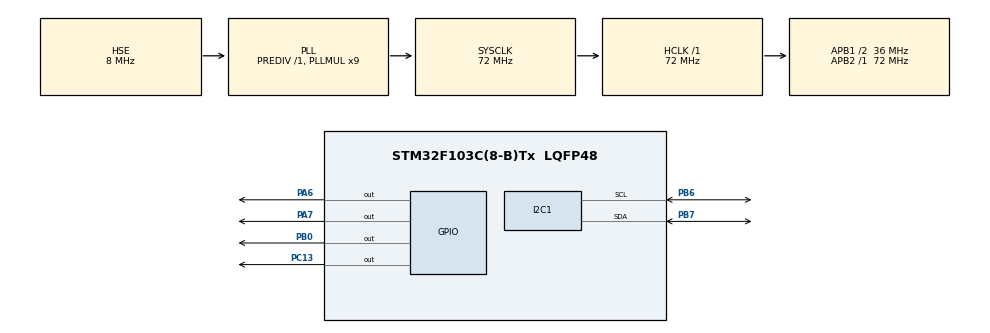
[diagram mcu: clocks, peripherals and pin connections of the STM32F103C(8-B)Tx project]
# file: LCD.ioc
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FREERTOS.Tasks01=defaultTask,24,256,StartDefaultTask,Default,NULL,Dynamic,NULL,NULL;sensor,24,256,entrySensor1,Default,NULL,Dynamic,NULL,NULL;NOMBRE,24,256,NombreApellido,Default,NULL,Dynamic,NULL,NULL
FREERTOS.configGENERATE_RUN_TIME_STATS=1
FREERTOS.configTOTAL_HEAP_SIZE=4000
FREERTOS.configUSE_APPLICATION_TASK_TAG=1
I2C1.I2C_Mode=I2C_Fast
Mcu.Family=STM32F1
Mcu.Name=STM32F103C(8-B)Tx
Mcu.Package=LQFP48
NVIC.PriorityGroup=NVIC_PRIORITYGROUP_4
NVIC.TIM1_UP_IRQn=true\:5\:0\:false\:false\:true\:true\:true\:true\:true
PA13.Mode=Serial_Wire
PA13.Signal=SYS_JTMS-SWDIO
PA14.Mode=Serial_Wire
PA14.Signal=SYS_JTCK-SWCLK
PA6.Signal=GPIO_Output
PA7.Signal=GPIO_Output
PB0.Signal=GPIO_Output
PB6.Mode=I2C
PB6.Signal=I2C1_SCL
PB7.Mode=I2C
PB7.Signal=I2C1_SDA
PC13-TAMPER-RTC.Signal=GPIO_Output
PD0-OSC_IN.Mode=HSE-External-Oscillator
PD0-OSC_IN.Signal=RCC_OSC_IN
PD1-OSC_OUT.Mode=HSE-External-Oscillator
PD1-OSC_OUT.Signal=RCC_OSC_OUT
ProjectManager.HeapSize=0x200
ProjectManager.StackSize=0x400
ProjectManager.TargetToolchain=STM32CubeIDE
RCC.AHBFreq_Value=72000000
RCC.APB1CLKDivider=RCC_HCLK_DIV2
RCC.APB1Freq_Value=36000000
RCC.APB1TimFreq_Value=72000000
RCC.APB2Freq_Value=72000000
RCC.APB2TimFreq_Value=72000000
RCC.HCLKFreq_Value=72000000
RCC.PLLMUL=RCC_PLL_MUL9
RCC.PLLSourceVirtual=RCC_PLLSOURCE_HSE
RCC.SYSCLKFreq_VALUE=72000000
RCC.SYSCLKSource=RCC_SYSCLKSOURCE_PLLCLK
RCC.USBFreq_Value=72000000
TIM1.AutoReloadPreload=TIM_AUTORELOAD_PRELOAD_ENABLE
TIM1.Period=99
TIM1.Prescaler=71
VP_FREERTOS_VS_CMSIS_V2.Mode=CMSIS_V2
VP_TIM1_VS_ClockSourceINT.Mode=Internal
board=custom

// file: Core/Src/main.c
/* USER CODE BEGIN Header */
/**
  ******************************************************************************
  * @file           : main.c
  * @brief          : Main program body
  ******************************************************************************
  * @attention
  *
  * Copyright (c) 2022 STMicroelectronics.
  * All rights reserved.
  *
  * This software is licensed under terms that can be found in the LICENSE file
  * in the root directory of this software component.
  * If no LICENSE file comes with this software, it is provided AS-IS.
  *
  ******************************************************************************
  */
/* USER CODE END Header */
#include "main.h"
#include "cmsis_os.h"

/* USER CODE BEGIN Includes */
#include "fonts.h"
#include "ssd1306.h"
#include "task.h"
/* USER CODE END Includes */

I2C_HandleTypeDef hi2c1;

TIM_HandleTypeDef htim1;

/* Definitions for defaultTask */
osThreadId_t defaultTaskHandle;
const osThreadAttr_t defaultTask_attributes = {
  .name = "defaultTask",
  .stack_size = 256 * 4,
  .priority = (osPriority_t) osPriorityNormal,
};
/* Definitions for sensor */
osThreadId_t sensorHandle;
const osThreadAttr_t sensor_attributes = {
  .name = "sensor",
  .stack_size = 256 * 4,
  .priority = (osPriority_t) osPriorityNormal,
};
/* Definitions for NOMBRE */
osThreadId_t NOMBREHandle;
const osThreadAttr_t NOMBRE_attributes = {
  .name = "NOMBRE",
  .stack_size = 256 * 4,
  .priority = (osPriority_t) osPriorityNormal,
};
/* USER CODE BEGIN PV */
volatile uint32_t ticks_10kHz;
/* USER CODE END PV */

void SystemClock_Config(void);
static void MX_GPIO_Init(void);
static void MX_I2C1_Init(void);
static void MX_TIM1_Init(void);
void StartDefaultTask(void *argument);
void entrySensor1(void *argument);
void NombreApellido(void *argument);

/* USER CODE BEGIN PFP */
void ImprimirLinea(char *s, uint8_t linea);
void callback_in(int tag);
void callback_out(int tag);
/*void configureTimerForRunTimeStats(void);
unsigned long getRunTimeCounterValue(void);
void HAL_TIM_PeriodElapsedCallback(TIM_HandleTypeDef *htim);*/
//void StartDefaultTask(void *argument);
/* USER CODE END PFP */

int main(void)
{

  /* MCU Configuration--------------------------------------------------------*/

  /* Reset of all peripherals, Initializes the Flash interface and the Systick. */
  HAL_Init();

  /* Configure the system clock */
  SystemClock_Config();

  /* Initialize all configured peripherals */
  MX_GPIO_Init();
  MX_I2C1_Init();
  MX_TIM1_Init();
  /* USER CODE BEGIN 2 */
  //ssd1306_I2C_Init();
  SSD1306_Init();
  SSD1306_Clear();
  /* USER CODE END 2 */

  /* Init scheduler */
  osKernelInitialize();

  /* Create the thread(s) */
  /* creation of defaultTask */
  defaultTaskHandle = osThreadNew(StartDefaultTask, NULL, &defaultTask_attributes);

  /* creation of sensor */
  sensorHandle = osThreadNew(entrySensor1, NULL, &sensor_attributes);

  /* creation of NOMBRE */
  NOMBREHandle = osThreadNew(NombreApellido, NULL, &NOMBRE_attributes);

  /* Start scheduler */
  osKernelStart();

  /* We should never get here as control is now taken by the scheduler */
  /* Infinite loop */
  while (1)
  {

  }
}

void SystemClock_Config(void)
{
  RCC_OscInitTypeDef RCC_OscInitStruct = {0};
  RCC_ClkInitTypeDef RCC_ClkInitStruct = {0};

  /** Initializes the RCC Oscillators according to the specified parameters
  * in the RCC_OscInitTypeDef structure.
  */
  RCC_OscInitStruct.OscillatorType = RCC_OSCILLATORTYPE_HSE;
  RCC_OscInitStruct.HSEState = RCC_HSE_ON;
  RCC_OscInitStruct.HSEPredivValue = RCC_HSE_PREDIV_DIV1;
  RCC_OscInitStruct.HSIState = RCC_HSI_ON;
  RCC_OscInitStruct.PLL.PLLState = RCC_PLL_ON;
  RCC_OscInitStruct.PLL.PLLSource = RCC_PLLSOURCE_HSE;
  RCC_OscInitStruct.PLL.PLLMUL = RCC_PLL_MUL9;
  if (HAL_RCC_OscConfig(&RCC_OscInitStruct) != HAL_OK)
  {
    Error_Handler();
  }

  /** Initializes the CPU, AHB and APB buses clocks
  */
  RCC_ClkInitStruct.ClockType = RCC_CLOCKTYPE_HCLK|RCC_CLOCKTYPE_SYSCLK
                              |RCC_CLOCKTYPE_PCLK1|RCC_CLOCKTYPE_PCLK2;
  RCC_ClkInitStruct.SYSCLKSource = RCC_SYSCLKSOURCE_PLLCLK;
  RCC_ClkInitStruct.AHBCLKDivider = RCC_SYSCLK_DIV1;
  RCC_ClkInitStruct.APB1CLKDivider = RCC_HCLK_DIV2;
  RCC_ClkInitStruct.APB2CLKDivider = RCC_HCLK_DIV1;

  if (HAL_RCC_ClockConfig(&RCC_ClkInitStruct, FLASH_LATENCY_2) != HAL_OK)
  {
    Error_Handler();
  }
}

static void MX_I2C1_Init(void)
{

  hi2c1.Instance = I2C1;
  hi2c1.Init.ClockSpeed = 400000;
  hi2c1.Init.DutyCycle = I2C_DUTYCYCLE_2;
  hi2c1.Init.OwnAddress1 = 0;
  hi2c1.Init.AddressingMode = I2C_ADDRESSINGMODE_7BIT;
  hi2c1.Init.DualAddressMode = I2C_DUALADDRESS_DISABLE;
  hi2c1.Init.OwnAddress2 = 0;
  hi2c1.Init.GeneralCallMode = I2C_GENERALCALL_DISABLE;
  hi2c1.Init.NoStretchMode = I2C_NOSTRETCH_DISABLE;
  if (HAL_I2C_Init(&hi2c1) != HAL_OK)
  {
    Error_Handler();
  }

}

static void MX_TIM1_Init(void)
{

  TIM_ClockConfigTypeDef sClockSourceConfig = {0};
  TIM_MasterConfigTypeDef sMasterConfig = {0};

  htim1.Instance = TIM1;
  htim1.Init.Prescaler = 71;
  htim1.Init.CounterMode = TIM_COUNTERMODE_UP;
  htim1.Init.Period = 99;
  htim1.Init.ClockDivision = TIM_CLOCKDIVISION_DIV1;
  htim1.Init.RepetitionCounter = 0;
  htim1.Init.AutoReloadPreload = TIM_AUTORELOAD_PRELOAD_ENABLE;
  if (HAL_TIM_Base_Init(&htim1) != HAL_OK)
  {
    Error_Handler();
  }
  sClockSourceConfig.ClockSource = TIM_CLOCKSOURCE_INTERNAL;
  if (HAL_TIM_ConfigClockSource(&htim1, &sClockSourceConfig) != HAL_OK)
  {
    Error_Handler();
  }
  sMasterConfig.MasterOutputTrigger = TIM_TRGO_RESET;
  sMasterConfig.MasterSlaveMode = TIM_MASTERSLAVEMODE_DISABLE;
  if (HAL_TIMEx_MasterConfigSynchronization(&htim1, &sMasterConfig) != HAL_OK)
  {
    Error_Handler();
  }

}

static void MX_GPIO_Init(void)
{
  GPIO_InitTypeDef GPIO_InitStruct = {0};

  /* GPIO Ports Clock Enable */
  __HAL_RCC_GPIOC_CLK_ENABLE();
  __HAL_RCC_GPIOD_CLK_ENABLE();
  __HAL_RCC_GPIOA_CLK_ENABLE();
  __HAL_RCC_GPIOB_CLK_ENABLE();

  /*Configure GPIO pin Output Level */
  HAL_GPIO_WritePin(GPIOC, GPIO_PIN_13, GPIO_PIN_RESET);

  /*Configure GPIO pin Output Level */
  HAL_GPIO_WritePin(GPIOA, GPIO_PIN_6|GPIO_PIN_7, GPIO_PIN_RESET);

  /*Configure GPIO pin Output Level */
  HAL_GPIO_WritePin(GPIOB, GPIO_PIN_0, GPIO_PIN_RESET);

  /*Configure GPIO pin : PC13 */
  GPIO_InitStruct.Pin = GPIO_PIN_13;
  GPIO_InitStruct.Mode = GPIO_MODE_OUTPUT_PP;
  GPIO_InitStruct.Pull = GPIO_NOPULL;
  GPIO_InitStruct.Speed = GPIO_SPEED_FREQ_LOW;
  HAL_GPIO_Init(GPIOC, &GPIO_InitStruct);

  /*Configure GPIO pins : PA6 PA7 */
  GPIO_InitStruct.Pin = GPIO_PIN_6|GPIO_PIN_7;
  GPIO_InitStruct.Mode = GPIO_MODE_OUTPUT_PP;
  GPIO_InitStruct.Pull = GPIO_NOPULL;
  GPIO_InitStruct.Speed = GPIO_SPEED_FREQ_LOW;
  HAL_GPIO_Init(GPIOA, &GPIO_InitStruct);

  /*Configure GPIO pin : PB0 */
  GPIO_InitStruct.Pin = GPIO_PIN_0;
  GPIO_InitStruct.Mode = GPIO_MODE_OUTPUT_PP;
  GPIO_InitStruct.Pull = GPIO_NOPULL;
  GPIO_InitStruct.Speed = GPIO_SPEED_FREQ_LOW;
  HAL_GPIO_Init(GPIOB, &GPIO_InitStruct);

}

/* USER CODE BEGIN 4 */
void ImprimirLinea(char *s, uint8_t linea) {
	taskENTER_CRITICAL();
	/* "borra" la línea para poder escribir en limpio */
	SSD1306_GotoXY(0, 0 + 14 * (linea - 1));
	SSD1306_Puts(" ", &Font_7x10, 1);
	/* imprime la cadena */
	SSD1306_GotoXY(0, 0 + 14 * (linea - 1));
	SSD1306_Puts(s, &Font_7x10, 1);
	/*actualiza pantalla*/
	SSD1306_UpdateScreen();
	taskEXIT_CRITICAL();
}

void configureTimerForRunTimeStats(void) {
	HAL_TIM_Base_Start_IT(&htim1);
	ticks_10kHz = 0;
}
unsigned long getRunTimeCounterValue(void) {
	return ticks_10kHz;
}
void HAL_TIM_PeriodElapsedCallback(TIM_HandleTypeDef *htim) {
	if (htim == &htim1)
		ticks_10kHz++;
}

void callback_in(int tag) {
	switch (tag) {
	case 1:
		HAL_GPIO_WritePin(GPIOB, GPIO_PIN_0, GPIO_PIN_SET); //cable azul ch4
		break;
	case 2:
		HAL_GPIO_WritePin(GPIOA, GPIO_PIN_7, GPIO_PIN_SET); //cable amarillo ch0
		break;
	case 3:
		HAL_GPIO_WritePin(GPIOA, GPIO_PIN_6, GPIO_PIN_SET); //cable verde ch2
		break;
	}
}

void callback_out(int tag) {
	switch (tag) {
	case 1:
		HAL_GPIO_WritePin(GPIOB, GPIO_PIN_0, GPIO_PIN_RESET);
		break;
	case 2:
		HAL_GPIO_WritePin(GPIOA, GPIO_PIN_7, GPIO_PIN_RESET);
		break;
	case 3:
		HAL_GPIO_WritePin(GPIOA, GPIO_PIN_6, GPIO_PIN_RESET);
		break;
	}
}
/* USER CODE END 4 */

void StartDefaultTask(void *argument)
{
  /* USER CODE BEGIN 5 */
  /* Assign a tag value of 1 to myself. */
  vTaskSetApplicationTaskTag( NULL, ( void * ) 1 );
  /* Infinite loop */
	for (;;) {
		HAL_GPIO_TogglePin(GPIOC, GPIO_PIN_13);
		if (HAL_GPIO_ReadPin(GPIOC, GPIO_PIN_13)) {
			ImprimirLinea("LED = OFF", 1);
		} else {
			ImprimirLinea("LED = ON ", 1);
		}
		osDelay(1000);
	}

  /* USER CODE END 5 */
}

void entrySensor1(void *argument)
{
  /* USER CODE BEGIN entrySensor1 */
  /* Assign a tag value of 2 to myself. */
  vTaskSetApplicationTaskTag( NULL, ( void * ) 2 );
  /* Infinite loop */
	int sensor = 0;
	char val[20] = "sensor1 = ";
	for (;;) {
		/* convierte el valor del sensor a ascii y lo
		 concatena al final de "sensor2 = " */
		itoa(sensor, val + 10, 10);
		ImprimirLinea(val, 2);
		sensor++;
		osDelay(100);
	}

  /* USER CODE END entrySensor1 */
}

void NombreApellido(void *argument)
{
  /* USER CODE BEGIN NombreApellido */
  /* Assign a tag value of 3 to myself. */
  vTaskSetApplicationTaskTag( NULL, ( void * ) 3 );
  /* Infinite loop */
  int m=0;
	for(;;)
  {
		if (m==0) {
			ImprimirLinea("MOREYRA", 3);
			m=1;
		} else {
			ImprimirLinea("JUAN   ", 3);
			m=0;
		}
		osDelay(200);
  }

  /* USER CODE END NombreApellido */
}

void Error_Handler(void)
{
  __disable_irq();
  while (1)
  {
  }
}
